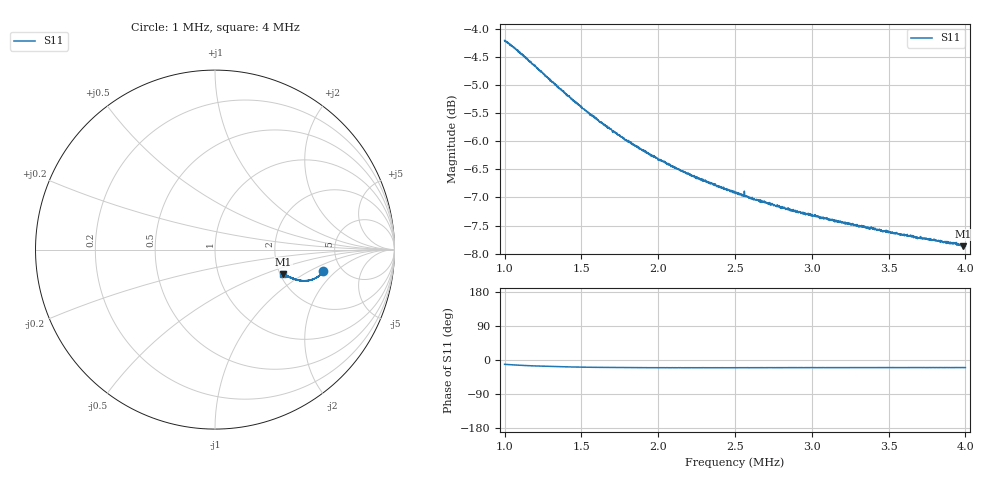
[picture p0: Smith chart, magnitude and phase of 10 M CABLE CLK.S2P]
!Keysight Technologies,E5063A,MY54504603,A.05.08
!Date: Thu Nov 19 06:27:52 2026
!Data & Calibration Information:
!Freq	S11:NONE(--)	S21:NONE(--)	S12:NONE(--)	S22:NONE(--)
# Hz S dB R 50
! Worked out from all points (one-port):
!   2000 points, 1 MHz to 4 MHz, reference 50 ohm
!   lowest |S11| = -7.9 dB at 3.986 MHz (marker M1), VSWR 2.36, Z = 104 - j34.2 ohm
!   |S11| at or under -10 dB: nowhere
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1000000  -4.21 -11.4  -200.00 0.0  -200.00 0.0  -200.00 0.0
1018009  -4.24 -11.9  -200.00 0.0  -200.00 0.0  -200.00 0.0
1066033  -4.34 -13.2  -200.00 0.0  -200.00 0.0  -200.00 0.0
1115558  -4.45 -14.1  -200.00 0.0  -200.00 0.0  -200.00 0.0
1157579  -4.58 -14.9  -200.00 0.0  -200.00 0.0  -200.00 0.0
1216108  -4.70 -16.0  -200.00 0.0  -200.00 0.0  -200.00 0.0
1295648  -4.91 -17.0  -200.00 0.0  -200.00 0.0  -200.00 0.0
1366183  -5.07 -17.7  -200.00 0.0  -200.00 0.0  -200.00 0.0
1447224  -5.26 -18.5  -200.00 0.0  -200.00 0.0  -200.00 0.0
1501251  -5.41 -18.9  -200.00 0.0  -200.00 0.0  -200.00 0.0
1615308  -5.65 -19.4  -200.00 0.0  -200.00 0.0  -200.00 0.0
1688844  -5.78 -19.8  -200.00 0.0  -200.00 0.0  -200.00 0.0
1789395  -5.98 -19.9  -200.00 0.0  -200.00 0.0  -200.00 0.0
2001000  -6.32 -20.3  -200.00 0.0  -200.00 0.0  -200.00 0.0
2232116  -6.63 -20.4  -200.00 0.0  -200.00 0.0  -200.00 0.0
2500750  -6.90 -20.3  -200.00 0.0  -200.00 0.0  -200.00 0.0
2761881  -7.14 -20.3  -200.00 0.0  -200.00 0.0  -200.00 0.0
3000500  -7.31 -20.2  -200.00 0.0  -200.00 0.0  -200.00 0.0
3500250  -7.62 -20.0  -200.00 0.0  -200.00 0.0  -200.00 0.0
3678839  -7.72 -20.1  -200.00 0.0  -200.00 0.0  -200.00 0.0
3986493  -7.87 -20.0  -200.00 0.0  -200.00 0.0  -200.00 0.0
4000000  -7.87 -20.0  -200.00 0.0  -200.00 0.0  -200.00 0.0
